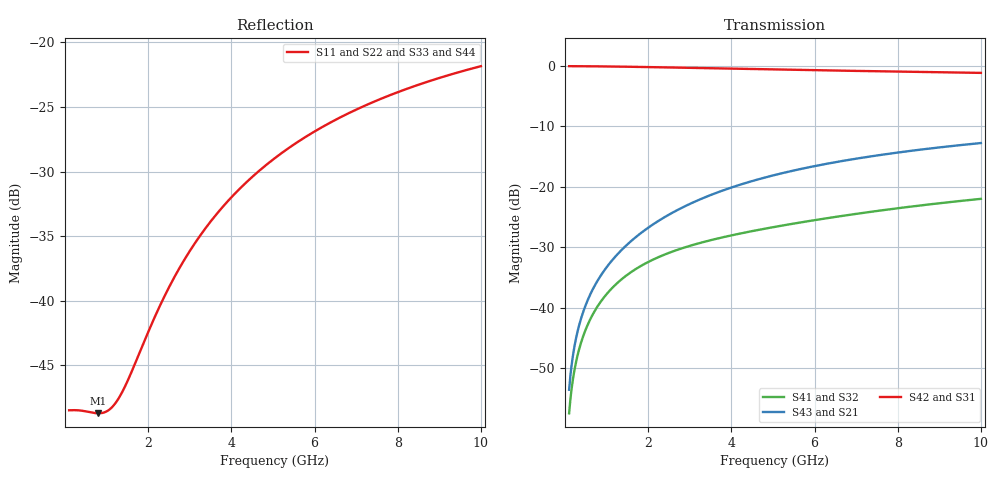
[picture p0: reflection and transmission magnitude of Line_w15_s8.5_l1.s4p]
! TOUCHSTONE file generated by CST MICROWAVE STUDIO
! Date and time: Wed Oct 15 11:45:50 2014
! Project name: Untitled_1.cst
# GHZ S MA R 50
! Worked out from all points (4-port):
!   1001 points, 100 MHz to 10 GHz, reference 50 ohm
!   strongest paths, dB at 100 MHz, 2.575 GHz, 5.05 GHz, 7.525 GHz, 10 GHz:
!     S42: 0.0, -0.3, -0.6, -0.9, -1.1
!     S31: 0.0, -0.3, -0.6, -0.9, -1.1
!     S43: -53.6, -24.3, -18.0, -14.8, -12.7
!     S21: -53.6, -24.3, -18.0, -14.8, -12.7
!     S41: -57.4, -30.7, -26.6, -24.0, -22.0
!     S32: -57.4, -30.7, -26.6, -24.0, -22.0
!   lowest |S11| = -48.7 dB at 802.9 MHz (marker M1), VSWR 1.01, Z = 50.2 - j0.304 ohm
!   |S11| at or under -10 dB: start of sweep to end of sweep
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0.1  0.003769 -5.4  0.0021 90.1  0.9962 -0.5  0.001341 -91.3
     0.0021 90.1  0.003769 -5.4  0.001341 -91.3  0.9962 -0.5
     0.9962 -0.5  0.001341 -91.3  0.003769 -5.4  0.0021 90.1
     0.001341 -91.3  0.9962 -0.5  0.0021 90.1  0.003769 -5.4
0.3574  0.003763 -20.8  0.007525 90.5  0.9954 -1.6  0.004763 -94.6
        0.007525 90.5  0.003759 -20.6  0.004763 -94.6  0.9954 -1.6
        0.9954 -1.6  0.004763 -94.6  0.003763 -20.8  0.007525 90.5
        0.004763 -94.6  0.9954 -1.6  0.007525 90.5  0.003759 -20.6
0.8029  0.003669 -55.5  0.01718 91.0  0.9926 -3.6  0.01052 -99.9
        0.01718 91.0  0.003646 -55.1  0.01052 -99.9  0.9926 -3.6
        0.9926 -3.6  0.01052 -99.9  0.003669 -55.5  0.01718 91.0
        0.01052 -99.9  0.9926 -3.6  0.01718 91.0  0.003647 -55.1
1.3177  0.004262 -105.7  0.02904 90.9  0.9877 -5.8  0.01672 -105.7
        0.02904 90.9  0.004212 -105.7  0.01672 -105.7  0.9877 -5.8
        0.9877 -5.8  0.01672 -105.7  0.004263 -105.6  0.02904 90.9
        0.01672 -105.7  0.9877 -5.8  0.02904 90.9  0.004213 -105.6
2.1988  0.008941 -165.0  0.05107 88.8  0.9765 -9.4  0.02579 -114.0
        0.05107 88.8  0.008894 -165.4  0.02579 -114.0  0.9765 -9.4
        0.9765 -9.4  0.02579 -114.0  0.008941 -165.0  0.05107 88.8
        0.02579 -114.0  0.9765 -9.4  0.05107 88.8  0.008892 -165.4
4.4758  0.0299 138.8  0.1111 78.8  0.9434 -17.6  0.04291 -126.4
        0.1111 78.8  0.02991 138.6  0.04291 -126.4  0.9435 -17.6
        0.9434 -17.6  0.04291 -126.4  0.0299 138.8  0.1111 78.8
        0.04291 -126.4  0.9435 -17.6  0.1111 78.8  0.02991 138.6
10  0.08095 85.5  0.2305 56.4  0.8766 -34.6  0.07964 -146.5
    0.2305 56.4  0.08109 85.5  0.07964 -146.4  0.8766 -34.6
    0.8766 -34.6  0.07964 -146.4  0.08096 85.5  0.2305 56.4
    0.07964 -146.5  0.8766 -34.6  0.2305 56.4  0.08109 85.4
